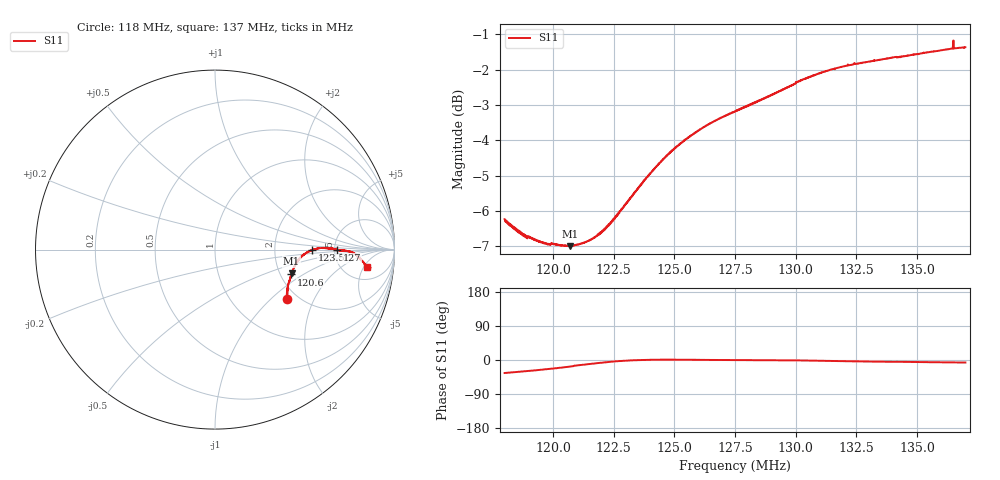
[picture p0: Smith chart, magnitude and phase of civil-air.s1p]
! Calibrated averaged scanner-service zoom
# Hz S RI R 50
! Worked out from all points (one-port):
!   2001 points, 118 MHz to 137 MHz, reference 50 ohm
!   lowest |S11| = -7.0 dB at 120.7 MHz (marker M1), VSWR 2.62, Z = 115 - j38.4 ohm
!   |S11| at or under -10 dB: nowhere
!   S11 on the Smith chart (normalised r, x): 118 MHz: 1.76, -1.27; 120.6 MHz: 2.29, -0.79; 123.5 MHz: 3.36, -0.03; 127 MHz: 5.27, -0.02; 137 MHz: 8, -6
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1.18e8  0.4027 -0.2754
1.188455e8  0.4017 -0.2255
1.19064e8  0.4045 -0.2194
1.196815e8  0.41 -0.187
1.20375e8  0.4213 -0.1518
1.20622e8  0.4255 -0.1382
1.20698e8  0.4266 -0.133
1.209545e8  0.4342 -0.1129
1.21363e8  0.4435 -0.092
1.21724e8  0.454 -0.0728
1.2218e8  0.4707 -0.0491
1.2275e8  0.5006 -0.0237
1.231395e8  0.52 -0.0114
1.235195e8  0.541 -0.0027
1.242795e8  0.5801 0.00785
1.25125e8  0.619 0.00877
1.261225e8  0.656 0.00432
1.269965e8  0.6812 -0.000927
1.275e8  0.6932 -0.00268
1.291245e8  0.7343 -0.00728
1.29875e8  0.7552 -0.0121
1.302835e8  0.7683 -0.0167
1.31034e8  0.7853 -0.0274
1.3225e8  0.805 -0.0471
1.33694e8  0.8199 -0.0653
1.34625e8  0.828 -0.0724
1.364205e8  0.8451 -0.0943
1.37e8  0.8485 -0.0997
